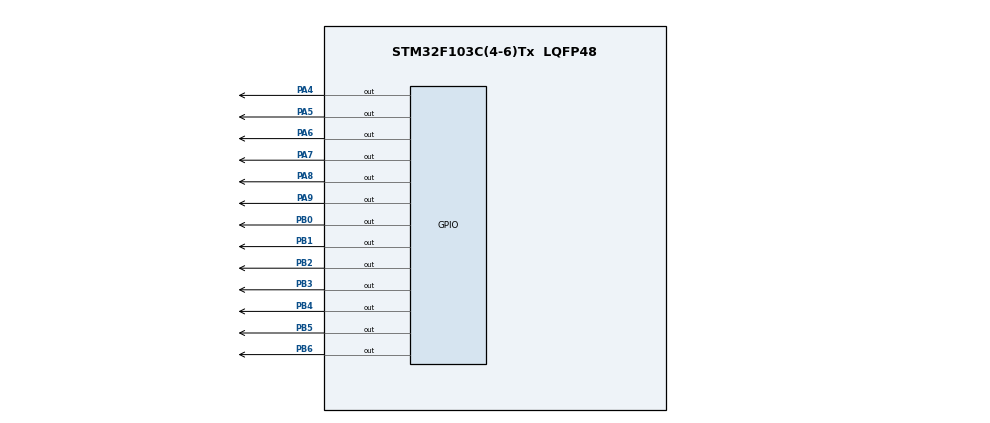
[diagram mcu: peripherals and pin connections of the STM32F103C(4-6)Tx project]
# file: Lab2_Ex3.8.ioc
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Mcu.Family=STM32F1
Mcu.Name=STM32F103C(4-6)Tx
Mcu.Package=LQFP48
NVIC.PriorityGroup=NVIC_PRIORITYGROUP_4
NVIC.TIM2_IRQn=true\:0\:0\:false\:false\:true\:true\:true
PA4.Signal=GPIO_Output
PA5.Signal=GPIO_Output
PA6.Signal=GPIO_Output
PA7.Signal=GPIO_Output
PA8.Signal=GPIO_Output
PA9.Signal=GPIO_Output
PB0.Signal=GPIO_Output
PB1.Signal=GPIO_Output
PB2.Signal=GPIO_Output
PB3.Signal=GPIO_Output
PB4.Signal=GPIO_Output
PB5.Signal=GPIO_Output
PB6.Signal=GPIO_Output
PD0-OSC_IN.Mode=HSE-External-Oscillator
PD0-OSC_IN.Signal=RCC_OSC_IN
PD1-OSC_OUT.Mode=HSE-External-Oscillator
PD1-OSC_OUT.Signal=RCC_OSC_OUT
ProjectManager.HeapSize=0x200
ProjectManager.StackSize=0x400
ProjectManager.TargetToolchain=STM32CubeIDE
RCC.APB1Freq_Value=8000000
RCC.APB2Freq_Value=8000000
TIM2.Period=9
TIM2.Prescaler=7999
VP_SYS_VS_ND.Mode=No_Debug
VP_TIM2_VS_ClockSourceINT.Mode=Internal
board=custom

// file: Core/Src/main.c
/* USER CODE BEGIN Header */
/**
  ******************************************************************************
  * @file           : main.c
  * @brief          : Main program body
  ******************************************************************************
  * @attention
  *
  * <h2><center>&copy; Copyright (c) 2021 STMicroelectronics.
  * All rights reserved.</center></h2>
  *
  * This software component is licensed by ST under BSD 3-Clause license,
  * the "License"; You may not use this file except in compliance with the
  * License. You may obtain a copy of the License at:
  *                        opensource.org/licenses/BSD-3-Clause
  *
  ******************************************************************************
  */
/* USER CODE END Header */
#include "main.h"

TIM_HandleTypeDef htim2;

void SystemClock_Config(void);
static void MX_GPIO_Init(void);
static void MX_TIM2_Init(void);

/* USER CODE BEGIN 0 */
uint8_t nums[10] = {0x01, 0x4F, 0x12, 0x06, 0x4C, 0x24, 0x20, 0x0F, 0x00, 0x04};

void display7SEG(uint8_t num) {
	HAL_GPIO_WritePin(GPIOB, GPIO_PIN_0, num & 0x40);
	HAL_GPIO_WritePin(GPIOB, GPIO_PIN_1, num & 0x20);
	HAL_GPIO_WritePin(GPIOB, GPIO_PIN_2, num & 0x10);
	HAL_GPIO_WritePin(GPIOB, GPIO_PIN_3, num & 0x08);
	HAL_GPIO_WritePin(GPIOB, GPIO_PIN_4, num & 0x04);
	HAL_GPIO_WritePin(GPIOB, GPIO_PIN_5, num & 0x02);
	HAL_GPIO_WritePin(GPIOB, GPIO_PIN_6, num & 0x01);
}

int led_buffer[4] = {0,0,0,-1};
int index_led = 0;
void update7SEG(int index) {
	switch (index) {
		case 0:
			display7SEG(nums[led_buffer[0]]);
			break;
		case 1:
			display7SEG(nums[led_buffer[1]]);
			break;
		case 2:
			display7SEG(nums[led_buffer[2]]);
			break;
		case 3:
			display7SEG(nums[led_buffer[3]]);
			break;
		default:
			break;
	}
}

void updateClockBuffer()
{
	if(led_buffer[3] > 9){
		led_buffer[3] = 0;
		led_buffer[2]++;
	}
	if(led_buffer[2] > 5){
		led_buffer[2] = 0;
		led_buffer[1]++;
	}
	if(led_buffer[1] > 9){
		led_buffer[1] = 0;
		led_buffer[0]++;
	}
	if(led_buffer[0] > 3){
		led_buffer[0] = 0;
	}
	led_buffer[3]++;
}

int timer0_counter = 0;
int timer0_flag = 0;
int TIMER_CYCLE = 10;

void setTimer0(int duration) {
	timer0_counter = duration / TIMER_CYCLE ;
	timer0_flag = 0;
}
void timer_run() {
	if(timer0_counter > 0) {
		timer0_counter--;
		if( timer0_counter == 0) timer0_flag = 1;
	}
}
/* USER CODE END 0 */

int main(void)
{

  /* MCU Configuration--------------------------------------------------------*/

  /* Reset of all peripherals, Initializes the Flash interface and the Systick. */
  HAL_Init();

  /* Configure the system clock */
  SystemClock_Config();

  /* Initialize all configured peripherals */
  MX_GPIO_Init();
  MX_TIM2_Init();
  /* USER CODE BEGIN 2 */
  HAL_TIM_Base_Start_IT(&htim2);
  /* USER CODE END 2 */

  /* Infinite loop */
  /* USER CODE BEGIN WHILE */
  setTimer0(1000);
  int hour = 0 , minute = 0 , second = -1;
  while (1)
  {
    second++;
    if (second >= 60) {
  	  second = 0;
  	  updateClockBuffer();
  	  for(int i = 0; i < 400; i++){
  		  if(i == 0){
  			HAL_GPIO_WritePin(GPIOA, GPIO_PIN_5, GPIO_PIN_RESET);
  			HAL_GPIO_WritePin(GPIOA, GPIO_PIN_6, GPIO_PIN_RESET);
  			HAL_GPIO_WritePin(GPIOA, GPIO_PIN_7, GPIO_PIN_SET);
  			HAL_GPIO_WritePin(GPIOA, GPIO_PIN_8, GPIO_PIN_SET);
  			HAL_GPIO_WritePin(GPIOA, GPIO_PIN_9, GPIO_PIN_SET);
  			update7SEG(index_led);
  		  }
  		  else if(i == 100){
  			HAL_GPIO_WritePin(GPIOA, GPIO_PIN_5, GPIO_PIN_SET);
  			HAL_GPIO_WritePin(GPIOA, GPIO_PIN_6, GPIO_PIN_SET);
  			HAL_GPIO_WritePin(GPIOA, GPIO_PIN_7, GPIO_PIN_RESET);
  			HAL_GPIO_WritePin(GPIOA, GPIO_PIN_8, GPIO_PIN_SET);
  			HAL_GPIO_WritePin(GPIOA, GPIO_PIN_9, GPIO_PIN_SET);
  			update7SEG(index_led++);
  		  }
  		  else if(i == 200){
  			HAL_GPIO_WritePin(GPIOA, GPIO_PIN_5, GPIO_PIN_RESET);
  			HAL_GPIO_WritePin(GPIOA, GPIO_PIN_6, GPIO_PIN_SET);
  			HAL_GPIO_WritePin(GPIOA, GPIO_PIN_7, GPIO_PIN_SET);
  			HAL_GPIO_WritePin(GPIOA, GPIO_PIN_8, GPIO_PIN_RESET);
  			HAL_GPIO_WritePin(GPIOA, GPIO_PIN_9, GPIO_PIN_SET);
  			update7SEG(index_led++);
  		  }
  		  else if(i == 300){
  			HAL_GPIO_WritePin(GPIOA, GPIO_PIN_5, GPIO_PIN_SET);
  			HAL_GPIO_WritePin(GPIOA, GPIO_PIN_6, GPIO_PIN_SET);
  			HAL_GPIO_WritePin(GPIOA, GPIO_PIN_7, GPIO_PIN_SET);
  			HAL_GPIO_WritePin(GPIOA, GPIO_PIN_8, GPIO_PIN_SET);
  			HAL_GPIO_WritePin(GPIOA, GPIO_PIN_9, GPIO_PIN_RESET);
  			update7SEG(index_led++);
  		  }
  	  }
  	  index_led = 0;
  	  minute++;
    }
    if( minute >= 60) {
  	  minute = 0;
  	  hour++;
    }
    if(hour >= 24) {
   		 hour = 0;
    }
    if(timer0_flag == 1) {
    	HAL_GPIO_TogglePin(GPIOA, GPIO_PIN_4);
    	setTimer0(10000);
    }
  }
  /* USER CODE END 3 */
}

void SystemClock_Config(void)
{
  RCC_OscInitTypeDef RCC_OscInitStruct = {0};
  RCC_ClkInitTypeDef RCC_ClkInitStruct = {0};

  /** Initializes the RCC Oscillators according to the specified parameters
  * in the RCC_OscInitTypeDef structure.
  */
  RCC_OscInitStruct.OscillatorType = RCC_OSCILLATORTYPE_HSI;
  RCC_OscInitStruct.HSIState = RCC_HSI_ON;
  RCC_OscInitStruct.HSICalibrationValue = RCC_HSICALIBRATION_DEFAULT;
  RCC_OscInitStruct.PLL.PLLState = RCC_PLL_NONE;
  if (HAL_RCC_OscConfig(&RCC_OscInitStruct) != HAL_OK)
  {
    Error_Handler();
  }
  /** Initializes the CPU, AHB and APB buses clocks
  */
  RCC_ClkInitStruct.ClockType = RCC_CLOCKTYPE_HCLK|RCC_CLOCKTYPE_SYSCLK
                              |RCC_CLOCKTYPE_PCLK1|RCC_CLOCKTYPE_PCLK2;
  RCC_ClkInitStruct.SYSCLKSource = RCC_SYSCLKSOURCE_HSI;
  RCC_ClkInitStruct.AHBCLKDivider = RCC_SYSCLK_DIV1;
  RCC_ClkInitStruct.APB1CLKDivider = RCC_HCLK_DIV1;
  RCC_ClkInitStruct.APB2CLKDivider = RCC_HCLK_DIV1;

  if (HAL_RCC_ClockConfig(&RCC_ClkInitStruct, FLASH_LATENCY_0) != HAL_OK)
  {
    Error_Handler();
  }
}

static void MX_TIM2_Init(void)
{

  TIM_ClockConfigTypeDef sClockSourceConfig = {0};
  TIM_MasterConfigTypeDef sMasterConfig = {0};

  htim2.Instance = TIM2;
  htim2.Init.Prescaler = 7999;
  htim2.Init.CounterMode = TIM_COUNTERMODE_UP;
  htim2.Init.Period = 9;
  htim2.Init.ClockDivision = TIM_CLOCKDIVISION_DIV1;
  htim2.Init.AutoReloadPreload = TIM_AUTORELOAD_PRELOAD_DISABLE;
  if (HAL_TIM_Base_Init(&htim2) != HAL_OK)
  {
    Error_Handler();
  }
  sClockSourceConfig.ClockSource = TIM_CLOCKSOURCE_INTERNAL;
  if (HAL_TIM_ConfigClockSource(&htim2, &sClockSourceConfig) != HAL_OK)
  {
    Error_Handler();
  }
  sMasterConfig.MasterOutputTrigger = TIM_TRGO_RESET;
  sMasterConfig.MasterSlaveMode = TIM_MASTERSLAVEMODE_DISABLE;
  if (HAL_TIMEx_MasterConfigSynchronization(&htim2, &sMasterConfig) != HAL_OK)
  {
    Error_Handler();
  }

}

static void MX_GPIO_Init(void)
{
  GPIO_InitTypeDef GPIO_InitStruct = {0};

  /* GPIO Ports Clock Enable */
  __HAL_RCC_GPIOD_CLK_ENABLE();
  __HAL_RCC_GPIOA_CLK_ENABLE();
  __HAL_RCC_GPIOB_CLK_ENABLE();

  /*Configure GPIO pin Output Level */
  HAL_GPIO_WritePin(GPIOA, GPIO_PIN_4|GPIO_PIN_5|GPIO_PIN_6|GPIO_PIN_7
                          |GPIO_PIN_8|GPIO_PIN_9, GPIO_PIN_RESET);

  /*Configure GPIO pin Output Level */
  HAL_GPIO_WritePin(GPIOB, GPIO_PIN_0|GPIO_PIN_1|GPIO_PIN_2|GPIO_PIN_3
                          |GPIO_PIN_4|GPIO_PIN_5|GPIO_PIN_6, GPIO_PIN_RESET);

  /*Configure GPIO pins : PA4 PA5 PA6 PA7
                           PA8 PA9 */
  GPIO_InitStruct.Pin = GPIO_PIN_4|GPIO_PIN_5|GPIO_PIN_6|GPIO_PIN_7
                          |GPIO_PIN_8|GPIO_PIN_9;
  GPIO_InitStruct.Mode = GPIO_MODE_OUTPUT_PP;
  GPIO_InitStruct.Pull = GPIO_NOPULL;
  GPIO_InitStruct.Speed = GPIO_SPEED_FREQ_LOW;
  HAL_GPIO_Init(GPIOA, &GPIO_InitStruct);

  /*Configure GPIO pins : PB0 PB1 PB2 PB3
                           PB4 PB5 PB6 */
  GPIO_InitStruct.Pin = GPIO_PIN_0|GPIO_PIN_1|GPIO_PIN_2|GPIO_PIN_3
                          |GPIO_PIN_4|GPIO_PIN_5|GPIO_PIN_6;
  GPIO_InitStruct.Mode = GPIO_MODE_OUTPUT_PP;
  GPIO_InitStruct.Pull = GPIO_NOPULL;
  GPIO_InitStruct.Speed = GPIO_SPEED_FREQ_LOW;
  HAL_GPIO_Init(GPIOB, &GPIO_InitStruct);

}

/* USER CODE BEGIN 4 */
void HAL_TIM_PeriodElapsedCallback(TIM_HandleTypeDef *htim)
{
	timer_run();
}
/* USER CODE END 4 */

void Error_Handler(void)
{
  __disable_irq();
  while (1)
  {
  }
}

/************************ (C) COPYRIGHT STMicroelectronics *****END OF FILE****/
